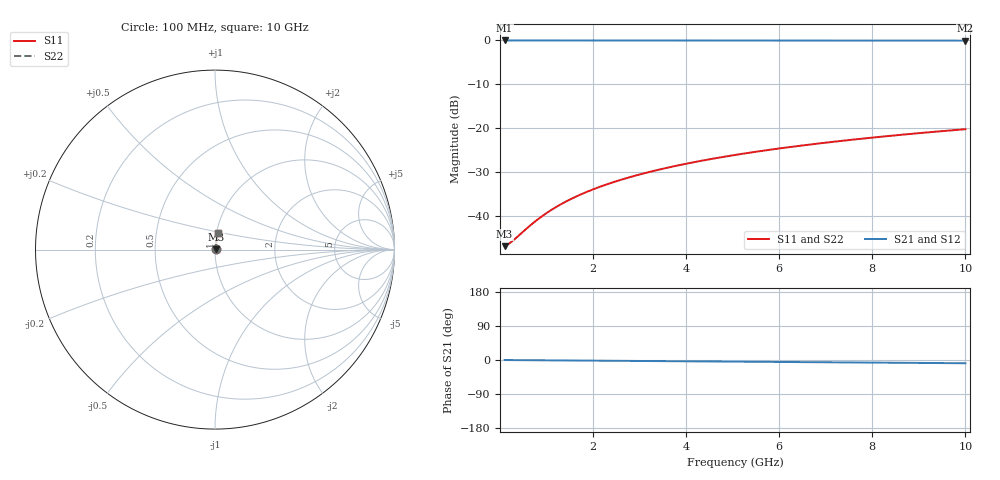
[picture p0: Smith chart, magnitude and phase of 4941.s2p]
# Hz S RI R 50.00
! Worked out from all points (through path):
!   100 points, 100 MHz to 10 GHz, reference 50 ohm
!   highest |S21| = -0.04 dB at 100 MHz (marker M1); lowest = -0.1 dB at 10 GHz (marker M2)
!   group delay of S21, straight-line fit = 2.37 ps
!   lowest |S11| = -46.9 dB at 100 MHz (marker M3), VSWR 1.01, Z = 50.4 + j0.0978 ohm
!   |S11| at or under -10 dB: start of sweep to end of sweep
!   |S22| runs from -46.9 to -20.3 dB; largest |S21 - S12| = 0
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1e8  0.00442 0.000969  0.9956 -0.00149  0.9956 -0.00149  0.00442 0.000969
2e8  0.00445 0.00194  0.9955 -0.00297  0.9955 -0.00297  0.00445 0.00194
3e8  0.00448 0.00291  0.9955 -0.00446  0.9955 -0.00446  0.00448 0.00291
7e8  0.00459 0.00678  0.9954 -0.0104  0.9954 -0.0104  0.00459 0.00678
8e8  0.00462 0.00775  0.9954 -0.0119  0.9954 -0.0119  0.00462 0.00775
1e9  0.0047 0.00968  0.9953 -0.0149  0.9953 -0.0149  0.0047 0.00968
1.2e9  0.00478 0.0116  0.9952 -0.0178  0.9952 -0.0178  0.00478 0.0116
1.4e9  0.00487 0.0136  0.9951 -0.0208  0.9951 -0.0208  0.00487 0.0136
1.6e9  0.00497 0.0155  0.995 -0.0238  0.995 -0.0238  0.00497 0.0155
1.8e9  0.00508 0.0174  0.9949 -0.0268  0.9949 -0.0268  0.00508 0.0174
2.1e9  0.00526 0.0203  0.9947 -0.0312  0.9947 -0.0312  0.00526 0.0203
2.5e9  0.00555 0.0242  0.9944 -0.0371  0.9944 -0.0371  0.00555 0.0242
2.9e9  0.00588 0.028  0.994 -0.0431  0.994 -0.0431  0.00588 0.028
3.4e9  0.00636 0.0329  0.9935 -0.0505  0.9935 -0.0505  0.00636 0.0329
3.8e9  0.00679 0.0367  0.993 -0.0564  0.993 -0.0564  0.00679 0.0367
4.2e9  0.00727 0.0405  0.9925 -0.0623  0.9925 -0.0623  0.00727 0.0405
5.1e9  0.00851 0.0492  0.9911 -0.0756  0.9911 -0.0756  0.00851 0.0492
5.9e9  0.0098 0.0568  0.9897 -0.0874  0.9897 -0.0874  0.0098 0.0568
6.7e9  0.0113 0.0644  0.9881 -0.0992  0.9881 -0.0992  0.0113 0.0644
7.5e9  0.0129 0.0719  0.9863 -0.1109  0.9863 -0.1109  0.0129 0.0719
8.4e9  0.015 0.0804  0.984 -0.124  0.984 -0.124  0.015 0.0804
1e10  0.0193 0.0952  0.9793 -0.1472  0.9793 -0.1472  0.0193 0.0952
